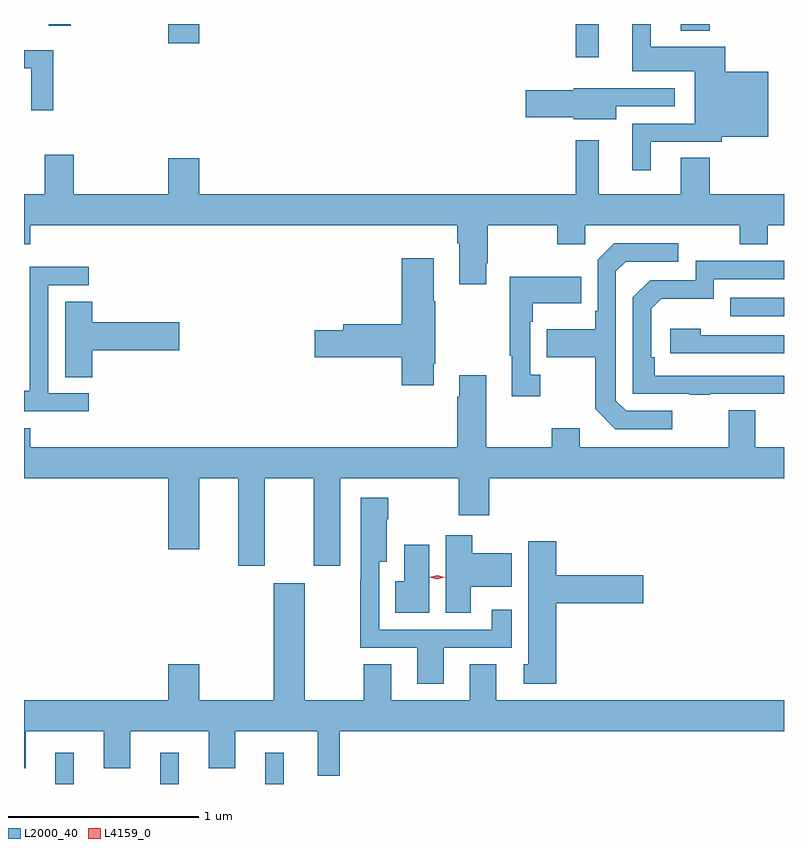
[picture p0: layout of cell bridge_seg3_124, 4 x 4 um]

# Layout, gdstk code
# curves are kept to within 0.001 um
import gdstk
lib = gdstk.Library(unit=1e-6, precision=1e-09)
def R(c, l, rs):  # rectangles x0, y0, x1, y1
    for r in rs: c.add(gdstk.rectangle(r[:2], r[2:], *l))
def P(c, l, *ps):  # polygons
    for p in ps: c.add(gdstk.Polygon(p, *l))
L2000_40 = (2000, 40)
L4159_0 = (4159, 0)

bridge_seg3_124 = lib.new_cell('bridge_seg3_124')
R(bridge_seg3_124, L2000_40, [(152.426,667.339,152.524,667.504), (152.978,667.339,153.076,667.504), (153.53,667.339,153.629,667.504), (155.977,669.801,156.261,669.897), (155.166,671.163,155.287,671.339), (153.02,671.238,153.184,671.339), (155.717,671.303,155.87,671.339), (152.39,671.331,152.507,671.339)])
P(bridge_seg3_124, L2000_40, [(155.56,670.719),(155.934,670.719),(155.934,670.745),(156.178,670.745),(156.178,671.089),(155.951,671.089),(155.951,671.218),(155.56,671.218),(155.56,671.339),(155.462,671.339),(155.462,671.09),(155.792,671.09),(155.792,670.815),(155.462,670.815),(155.462,670.569),(155.56,670.569)],
  [(152.414,671.202),(152.261,671.202),(152.261,671.106),(152.298,671.106),(152.298,670.884),(152.414,670.884)],
  [(155.377,670.905),(155.686,670.905),(155.686,671.001),(155.373,671.001),(155.373,671.002),(155.154,671.002),(155.154,670.991),(154.902,670.991),(154.902,670.849),(155.154,670.849),(155.154,670.838),(155.377,670.838)],
  [(154.693,670.081),(154.701,670.081),(154.701,670.28),(155.068,670.28),(155.068,670.181),(155.214,670.181),(155.214,670.28),(156.028,670.28),(156.028,670.181),(156.175,670.181),(156.175,670.28),(156.261,670.28),(156.261,670.444),(155.87,670.444),(155.87,670.634),(155.717,670.634),(155.717,670.444),(155.287,670.444),(155.287,670.726),(155.166,670.726),(155.166,670.444),(153.184,670.444),(153.184,670.633),(153.02,670.633),(153.02,670.444),(152.522,670.444),(152.522,670.651),(152.369,670.651),(152.369,670.444),(152.261,670.444),(152.261,670.181),(152.294,670.181),(152.294,670.28),(154.541,670.28),(154.541,670.184),(154.553,670.184),(154.553,669.969),(154.693,669.969)],
  [(155.674,669.303),(155.43,669.303),(155.376,669.357),(155.376,670.038),(155.427,670.089),(155.704,670.089),(155.704,670.185),(155.367,670.185),(155.28,670.098),(155.28,669.829),(155.268,669.829),(155.268,669.733),(155.011,669.733),(155.011,669.586),(155.268,669.586),(155.268,669.313),(155.373,669.207),(155.674,669.207)],
  [(154.417,669.55),(154.425,669.55),(154.425,669.881),(154.417,669.881),(154.417,670.105),(154.25,670.105),(154.25,669.758),(153.941,669.758),(153.941,669.728),(153.792,669.728),(153.792,669.586),(154.25,669.586),(154.25,669.438),(154.417,669.438)],
  [(155.873,669.393),(156.261,669.393),(156.261,669.488),(155.582,669.489),(155.582,669.586),(155.562,669.586),(155.562,669.84),(155.615,669.893),(155.892,669.893),(155.892,669.996),(156.261,669.996),(156.261,670.092),(155.796,670.092),(155.796,669.99),(155.556,669.99),(155.466,669.9),(155.466,669.393),(155.761,669.393),(155.761,669.388),(155.873,669.388)],
  [(152.602,669.396),(152.388,669.396),(152.388,669.963),(152.602,669.963),(152.602,670.062),(152.292,670.062),(152.292,669.632),(152.29,669.632),(152.29,669.409),(152.261,669.409),(152.261,669.3),(152.602,669.3)],
  [(154.978,669.494),(154.926,669.494),(154.926,669.773),(154.939,669.773),(154.939,669.869),(155.195,669.869),(155.195,670.009),(154.818,670.009),(154.818,669.593),(154.829,669.593),(154.829,669.381),(154.978,669.381)],
  [(152.621,669.623),(153.079,669.623),(153.079,669.77),(152.621,669.77),(152.621,669.878),(152.477,669.878),(152.477,669.481),(152.621,669.481)],
  [(156.261,669.702),(155.822,669.702),(155.822,669.736),(155.661,669.736),(155.661,669.606),(156.261,669.606)],
  [(154.541,669.112),(152.294,669.112),(152.294,669.211),(152.261,669.211),(152.261,668.948),(153.02,668.948),(153.02,668.574),(153.184,668.574),(153.184,668.948),(153.389,668.948),(153.389,668.487),(153.529,668.487),(153.529,668.948),(153.785,668.948),(153.785,668.487),(153.925,668.487),(153.925,668.948),(154.549,668.948),(154.549,668.754),(154.709,668.754),(154.709,668.948),(156.261,668.948),(156.261,669.112),(156.109,669.112),(156.109,669.307),(155.969,669.307),(155.969,669.112),(155.185,669.112),(155.185,669.211),(155.038,669.211),(155.038,669.112),(154.693,669.112),(154.693,669.49),(154.553,669.49),(154.553,669.377),(154.541,669.377)],
  [(154.471,668.055),(154.828,668.055),(154.828,668.257),(154.724,668.257),(154.724,668.151),(154.131,668.151),(154.131,668.51),(154.171,668.51),(154.171,668.732),(154.179,668.732),(154.179,668.845),(154.034,668.845),(154.034,668.414),(154.03,668.414),(154.03,668.055),(154.331,668.055),(154.331,667.866),(154.471,667.866)],
  [(154.612,668.378),(154.828,668.378),(154.828,668.554),(154.62,668.554),(154.62,668.647),(154.481,668.647),(154.481,668.24),(154.612,668.24)],
  [(155.063,668.291),(155.521,668.291),(155.521,668.438),(155.063,668.438),(155.063,668.617),(154.916,668.617),(154.916,667.968),(154.892,667.968),(154.892,667.866),(155.063,667.866)],
  [(154.393,668.599),(154.262,668.599),(154.262,668.405),(154.216,668.405),(154.216,668.24),(154.393,668.24)],
  [(153.923,667.616),(156.261,667.616),(156.261,667.78),(154.747,667.78),(154.747,667.97),(154.607,667.97),(154.607,667.78),(154.195,667.78),(154.195,667.97),(154.048,667.97),(154.048,667.78),(153.739,667.78),(153.739,668.395),(153.575,668.395),(153.575,667.78),(153.184,667.78),(153.184,667.969),(153.02,667.969),(153.02,667.78),(152.261,667.78),(152.261,667.423),(152.269,667.423),(152.269,667.616),(152.681,667.616),(152.681,667.423),(152.821,667.423),(152.821,667.616),(153.233,667.616),(153.233,667.423),(153.373,667.423),(153.373,667.616),(153.806,667.616),(153.806,667.383),(153.923,667.383)])
P(bridge_seg3_124, L4159_0, [(154.436,668.417),(154.395,668.426),(154.395,668.426),(154.395,668.426),(154.436,668.437),(154.476,668.428),(154.477,668.428),(154.476,668.428)])

lib.write_gds('bridge_seg3_124.gds')
